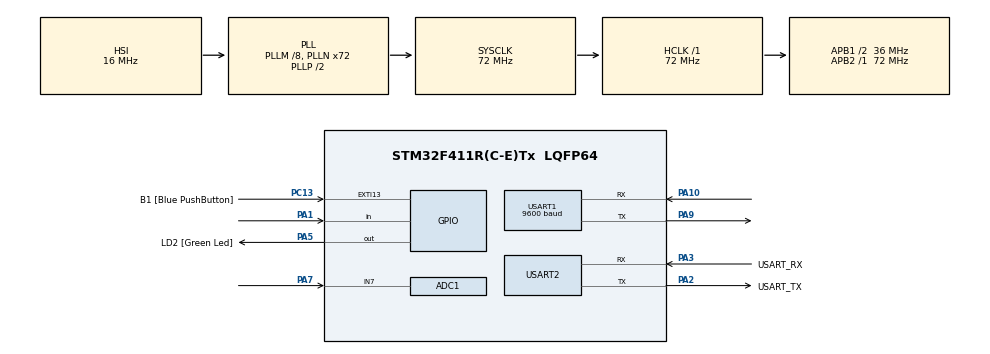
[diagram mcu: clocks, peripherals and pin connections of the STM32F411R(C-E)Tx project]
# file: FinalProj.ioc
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ADC1.Channel-0\#ChannelRegularConversion=ADC_CHANNEL_7
ADC1.NbrOfConversionFlag=1
ADC1.Rank-0\#ChannelRegularConversion=1
ADC1.SamplingTime-0\#ChannelRegularConversion=ADC_SAMPLETIME_3CYCLES
ADC1.master=1
Mcu.Family=STM32F4
Mcu.Name=STM32F411R(C-E)Tx
Mcu.Package=LQFP64
NVIC.PriorityGroup=NVIC_PRIORITYGROUP_0
NVIC.USART1_IRQn=true\:0\:0\:false\:false\:true\:true\:true\:true
PA1.Signal=GPIO_Input
PA10.Mode=Asynchronous
PA10.Signal=USART1_RX
PA13.GPIO_Label=TMS
PA13.Signal=SYS_JTMS-SWDIO
PA14.GPIO_Label=TCK
PA14.Signal=SYS_JTCK-SWCLK
PA2.GPIO_Label=USART_TX
PA2.Mode=Asynchronous
PA2.Signal=USART2_TX
PA3.GPIO_Label=USART_RX
PA3.Mode=Asynchronous
PA3.Signal=USART2_RX
PA5.GPIO_Label=LD2 [Green Led]
PA5.Signal=GPIO_Output
PA7.Signal=ADCx_IN7
PA9.Mode=Asynchronous
PA9.Signal=USART1_TX
PB3.GPIO_Label=SWO
PB3.Signal=SYS_JTDO-SWO
PC13-ANTI_TAMP.GPIO_Label=B1 [Blue PushButton]
PC13-ANTI_TAMP.GPIO_ModeDefaultEXTI=GPIO_MODE_IT_FALLING
PC13-ANTI_TAMP.Signal=GPXTI13
PC14-OSC32_IN.Signal=RCC_OSC32_IN
PC15-OSC32_OUT.Signal=RCC_OSC32_OUT
PH0\ -\ OSC_IN.Signal=RCC_OSC_IN
PH1\ -\ OSC_OUT.Signal=RCC_OSC_OUT
ProjectManager.HeapSize=0x200
ProjectManager.StackSize=0x400
ProjectManager.TargetToolchain=STM32CubeIDE
RCC.48MHZClocksFreq_Value=36000000
RCC.AHBFreq_Value=72000000
RCC.APB1CLKDivider=RCC_HCLK_DIV2
RCC.APB1Freq_Value=36000000
RCC.APB1TimFreq_Value=72000000
RCC.APB2Freq_Value=72000000
RCC.APB2TimFreq_Value=72000000
RCC.CortexFreq_Value=72000000
RCC.FLatency-AdvancedSettings=FLASH_LATENCY_2
RCC.HCLKFreq_Value=72000000
RCC.HSE_VALUE=8000000
RCC.HSI_VALUE=16000000
RCC.LSE_VALUE=32768
RCC.PLLM=8
RCC.PLLN=72
RCC.SYSCLKFreq_VALUE=72000000
RCC.SYSCLKSource=RCC_SYSCLKSOURCE_PLLCLK
RCC.VCOOutputFreq_Value=144000000
SH.ADCx_IN7.0=ADC1_IN7,IN7
TIM1.Prescaler=72-1
USART1.BaudRate=9600
USART1.VirtualMode=VM_ASYNC
USART2.VirtualMode=VM_ASYNC
VP_TIM1_VS_ClockSourceINT.Mode=Internal
board=NUCLEO-F411RE

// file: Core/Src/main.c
/* USER CODE BEGIN Header */
/**
  ******************************************************************************
  * @file           : main.c
  * @brief          : Main program body
  ******************************************************************************
  * @attention
  *
  * Copyright (c) 2023 STMicroelectronics.
  * All rights reserved.
  *
  * This software is licensed under terms that can be found in the LICENSE file
  * in the root directory of this software component.
  * If no LICENSE file comes with this software, it is provided AS-IS.
  *
  ******************************************************************************
  */
/* USER CODE END Header */
#include "main.h"

ADC_HandleTypeDef hadc1;

TIM_HandleTypeDef htim1;

UART_HandleTypeDef huart1;
UART_HandleTypeDef huart2;

void SystemClock_Config(void);
static void MX_GPIO_Init(void);
static void MX_TIM1_Init(void);
static void MX_USART2_UART_Init(void);
static void MX_ADC1_Init(void);
static void MX_USART1_UART_Init(void);

/* USER CODE BEGIN 0 */
int t,m;
uint8_t text;
void HAL_UART_RxCpltCallback(UART_HandleTypeDef *huart) {
    if (huart->Instance == USART1) {
//    	HAL_UART_Transmit(&huart2, "start\n\r", sizeof("start\n\r"), 1000);
          HAL_UART_Transmit(&huart1, &t, sizeof(t), 1000);
          HAL_UART_Transmit(&huart1, &m, sizeof(m), 1000);
          HAL_UART_Receive_IT(&huart1, &text, 1);
    }
}

//uint8_t c;
//char text[32];
//int index = 0;
//void HAL_UART_RxCpltCallback(UART_HandleTypeDef *huart) {
//	if (huart -> Instance == USART6) {
//		if (c != 13) {
//			HAL_UART_Transmit(&huart2, &c, 1, 100);
//			text[index++] = c;
//		} else {
//			HAL_UART_Transmit(&huart2, "\r\n", 2, 100);
//			for (int i = 0; i < index; i++) {
//				HAL_UART_Transmit(&huart2, &text[index-1-i], 1, 100);
//			}
//			HAL_UART_Transmit(&huart2, "\r\n", 2, 100);
//			memset(text,0,32);
//			index = 0;
//		}
//	}
//	HAL_UART_Receive_IT(&huart2, &c, 1);
//}

#define DS18B20_PORT GPIOA
#define DS18B20_PIN GPIO_PIN_1

void delay (uint16_t us)
{
	__HAL_TIM_SET_COUNTER(&htim1,0);  // set the counter value a 0
	while (__HAL_TIM_GET_COUNTER(&htim1) < us);  // wait for the counter to reach the us input in the parameter
}

GPIO_InitTypeDef GPIO_InitStruct;

void gpio_set_input (void)
{
  GPIO_InitStruct.Pin = GPIO_PIN_1;
  GPIO_InitStruct.Mode = GPIO_MODE_INPUT;
  GPIO_InitStruct.Pull = GPIO_PULLUP;
  HAL_GPIO_Init(GPIOA, &GPIO_InitStruct);
}

void gpio_set_output (void)
{
  GPIO_InitStruct.Pin = GPIO_PIN_1;
  GPIO_InitStruct.Mode = GPIO_MODE_OUTPUT_PP;
  GPIO_InitStruct.Pull = GPIO_NOPULL;
  GPIO_InitStruct.Speed = GPIO_SPEED_FREQ_LOW;
  HAL_GPIO_Init(GPIOA, &GPIO_InitStruct);
}

uint8_t check =2, temp_l, temp_h;
uint16_t temp;
float temperature;

uint8_t ds18b20_init (void)
{
	gpio_set_output ();   // set the pin as output
	HAL_GPIO_WritePin (GPIOA, GPIO_PIN_1, 0);  // pull the pin low
	delay (480);   // delay according to datasheet

	gpio_set_input ();    // set the pin as input
	delay (80);    // delay according to datasheet

	if (!(HAL_GPIO_ReadPin (GPIOA, GPIO_PIN_1)))    // if the pin is low i.e the presence pulse is there
	{
		delay (400);  // wait for 400 us
		return 0;
	}

	else
	{
		delay (400);
		return 1;
	}
}

void write (uint8_t data)
{
	gpio_set_output ();   // set as output

	for (int i=0; i<8; i++)
	{

		if ((data & (1<<i))!=0)  // if the bit is high
		{
			// write 1

			gpio_set_output ();  // set as output
			HAL_GPIO_WritePin (GPIOA, GPIO_PIN_1, 0);  // pull the pin LOW
			delay (1);  // wait for  us

			gpio_set_input ();  // set as input
			delay (60);  // wait for 60 us
		}

		else  // if the bit is low
		{
			// write 0

			gpio_set_output ();
			HAL_GPIO_WritePin (GPIOA, GPIO_PIN_1, 0);  // pull the pin LOW
			delay (60);  // wait for 60 us

			gpio_set_input ();
		}
	}
}

uint8_t read (void)
{
	uint8_t value=0;
	gpio_set_input ();

	for (int i=0;i<8;i++)
	{
		gpio_set_output ();   // set as output

		HAL_GPIO_WritePin (GPIOA, GPIO_PIN_1, 0);  // pull the data pin LOW
		delay (2);  // wait for 2 us

		gpio_set_input ();  // set as input
		if (HAL_GPIO_ReadPin (GPIOA, GPIO_PIN_1))  // if the pin is HIGH
		{
			value |= 1<<i;  // read = 1
		}
		delay (60);  // wait for 60 us
	}
	return value;
}

/* USER CODE END 0 */

int main(void)
{

  /* MCU Configuration--------------------------------------------------------*/

  /* Reset of all peripherals, Initializes the Flash interface and the Systick. */
  HAL_Init();

  /* Configure the system clock */
  SystemClock_Config();

  /* Initialize all configured peripherals */
  MX_GPIO_Init();
  MX_TIM1_Init();
  MX_USART2_UART_Init();
  MX_ADC1_Init();
  MX_USART1_UART_Init();
  /* USER CODE BEGIN 2 */

  HAL_TIM_Base_Start(&htim1);
  UART_Start_Receive_IT(&huart1, &text, 1);
  /* USER CODE END 2 */

  /* Infinite loop */
  while (1)
  {

    /* USER CODE BEGIN 3 */
	  HAL_ADC_Start(&hadc1);
	  HAL_ADC_PollForConversion(&hadc1, 1);

	  check = ds18b20_init ();
	  write (0xCC);  // skip ROM
	  write (0x44);  // convert t

	  HAL_Delay (200);

	  ds18b20_init ();
	  write (0xCC);  // skip ROM
	  write (0xBE);  // Read Scratchpad

	  temp_l = read();
	  temp_h = read();
	  temp = (temp_h<<8)|temp_l;
	  temperature = (float)temp/16;

	  uint16_t TDS = 0;
	  TDS = HAL_ADC_GetValue(&hadc1);

	  char text[10];
	  sprintf(text, "[%d,%d]\r\n", (int) temperature, (int)TDS);
	  t = (int) temperature;
	  if (TDS > 255) {
		  m = 255;
	  } else {
		  m = (uint16_t) TDS;
	  }
	  HAL_UART_Transmit(&huart2, &text, sizeof(text), 1000);
  }
  /* USER CODE END 3 */
}

void SystemClock_Config(void)
{
  RCC_OscInitTypeDef RCC_OscInitStruct = {0};
  RCC_ClkInitTypeDef RCC_ClkInitStruct = {0};

  /** Configure the main internal regulator output voltage
  */
  __HAL_RCC_PWR_CLK_ENABLE();
  __HAL_PWR_VOLTAGESCALING_CONFIG(PWR_REGULATOR_VOLTAGE_SCALE1);

  /** Initializes the RCC Oscillators according to the specified parameters
  * in the RCC_OscInitTypeDef structure.
  */
  RCC_OscInitStruct.OscillatorType = RCC_OSCILLATORTYPE_HSI;
  RCC_OscInitStruct.HSIState = RCC_HSI_ON;
  RCC_OscInitStruct.HSICalibrationValue = RCC_HSICALIBRATION_DEFAULT;
  RCC_OscInitStruct.PLL.PLLState = RCC_PLL_ON;
  RCC_OscInitStruct.PLL.PLLSource = RCC_PLLSOURCE_HSI;
  RCC_OscInitStruct.PLL.PLLM = 8;
  RCC_OscInitStruct.PLL.PLLN = 72;
  RCC_OscInitStruct.PLL.PLLP = RCC_PLLP_DIV2;
  RCC_OscInitStruct.PLL.PLLQ = 4;
  if (HAL_RCC_OscConfig(&RCC_OscInitStruct) != HAL_OK)
  {
    Error_Handler();
  }

  /** Initializes the CPU, AHB and APB buses clocks
  */
  RCC_ClkInitStruct.ClockType = RCC_CLOCKTYPE_HCLK|RCC_CLOCKTYPE_SYSCLK
                              |RCC_CLOCKTYPE_PCLK1|RCC_CLOCKTYPE_PCLK2;
  RCC_ClkInitStruct.SYSCLKSource = RCC_SYSCLKSOURCE_PLLCLK;
  RCC_ClkInitStruct.AHBCLKDivider = RCC_SYSCLK_DIV1;
  RCC_ClkInitStruct.APB1CLKDivider = RCC_HCLK_DIV2;
  RCC_ClkInitStruct.APB2CLKDivider = RCC_HCLK_DIV1;

  if (HAL_RCC_ClockConfig(&RCC_ClkInitStruct, FLASH_LATENCY_2) != HAL_OK)
  {
    Error_Handler();
  }
}

static void MX_ADC1_Init(void)
{

  ADC_ChannelConfTypeDef sConfig = {0};

  /** Configure the global features of the ADC (Clock, Resolution, Data Alignment and number of conversion)
  */
  hadc1.Instance = ADC1;
  hadc1.Init.ClockPrescaler = ADC_CLOCK_SYNC_PCLK_DIV2;
  hadc1.Init.Resolution = ADC_RESOLUTION_12B;
  hadc1.Init.ScanConvMode = DISABLE;
  hadc1.Init.ContinuousConvMode = DISABLE;
  hadc1.Init.DiscontinuousConvMode = DISABLE;
  hadc1.Init.ExternalTrigConvEdge = ADC_EXTERNALTRIGCONVEDGE_NONE;
  hadc1.Init.ExternalTrigConv = ADC_SOFTWARE_START;
  hadc1.Init.DataAlign = ADC_DATAALIGN_RIGHT;
  hadc1.Init.NbrOfConversion = 1;
  hadc1.Init.DMAContinuousRequests = DISABLE;
  hadc1.Init.EOCSelection = ADC_EOC_SINGLE_CONV;
  if (HAL_ADC_Init(&hadc1) != HAL_OK)
  {
    Error_Handler();
  }

  /** Configure for the selected ADC regular channel its corresponding rank in the sequencer and its sample time.
  */
  sConfig.Channel = ADC_CHANNEL_7;
  sConfig.Rank = 1;
  sConfig.SamplingTime = ADC_SAMPLETIME_3CYCLES;
  if (HAL_ADC_ConfigChannel(&hadc1, &sConfig) != HAL_OK)
  {
    Error_Handler();
  }

}

static void MX_TIM1_Init(void)
{

  TIM_ClockConfigTypeDef sClockSourceConfig = {0};
  TIM_MasterConfigTypeDef sMasterConfig = {0};

  htim1.Instance = TIM1;
  htim1.Init.Prescaler = 72-1;
  htim1.Init.CounterMode = TIM_COUNTERMODE_UP;
  htim1.Init.Period = 65535;
  htim1.Init.ClockDivision = TIM_CLOCKDIVISION_DIV1;
  htim1.Init.RepetitionCounter = 0;
  htim1.Init.AutoReloadPreload = TIM_AUTORELOAD_PRELOAD_DISABLE;
  if (HAL_TIM_Base_Init(&htim1) != HAL_OK)
  {
    Error_Handler();
  }
  sClockSourceConfig.ClockSource = TIM_CLOCKSOURCE_INTERNAL;
  if (HAL_TIM_ConfigClockSource(&htim1, &sClockSourceConfig) != HAL_OK)
  {
    Error_Handler();
  }
  sMasterConfig.MasterOutputTrigger = TIM_TRGO_RESET;
  sMasterConfig.MasterSlaveMode = TIM_MASTERSLAVEMODE_DISABLE;
  if (HAL_TIMEx_MasterConfigSynchronization(&htim1, &sMasterConfig) != HAL_OK)
  {
    Error_Handler();
  }

}

static void MX_USART1_UART_Init(void)
{

  huart1.Instance = USART1;
  huart1.Init.BaudRate = 9600;
  huart1.Init.WordLength = UART_WORDLENGTH_8B;
  huart1.Init.StopBits = UART_STOPBITS_1;
  huart1.Init.Parity = UART_PARITY_NONE;
  huart1.Init.Mode = UART_MODE_TX_RX;
  huart1.Init.HwFlowCtl = UART_HWCONTROL_NONE;
  huart1.Init.OverSampling = UART_OVERSAMPLING_16;
  if (HAL_UART_Init(&huart1) != HAL_OK)
  {
    Error_Handler();
  }

}

static void MX_USART2_UART_Init(void)
{

  huart2.Instance = USART2;
  huart2.Init.BaudRate = 115200;
  huart2.Init.WordLength = UART_WORDLENGTH_8B;
  huart2.Init.StopBits = UART_STOPBITS_1;
  huart2.Init.Parity = UART_PARITY_NONE;
  huart2.Init.Mode = UART_MODE_TX_RX;
  huart2.Init.HwFlowCtl = UART_HWCONTROL_NONE;
  huart2.Init.OverSampling = UART_OVERSAMPLING_16;
  if (HAL_UART_Init(&huart2) != HAL_OK)
  {
    Error_Handler();
  }

}

static void MX_GPIO_Init(void)
{
  GPIO_InitTypeDef GPIO_InitStruct = {0};

  /* GPIO Ports Clock Enable */
  __HAL_RCC_GPIOC_CLK_ENABLE();
  __HAL_RCC_GPIOH_CLK_ENABLE();
  __HAL_RCC_GPIOA_CLK_ENABLE();
  __HAL_RCC_GPIOB_CLK_ENABLE();

  /*Configure GPIO pin Output Level */
  HAL_GPIO_WritePin(LD2_GPIO_Port, LD2_Pin, GPIO_PIN_RESET);

  /*Configure GPIO pin : B1_Pin */
  GPIO_InitStruct.Pin = B1_Pin;
  GPIO_InitStruct.Mode = GPIO_MODE_IT_FALLING;
  GPIO_InitStruct.Pull = GPIO_NOPULL;
  HAL_GPIO_Init(B1_GPIO_Port, &GPIO_InitStruct);

  /*Configure GPIO pin : PA1 */
  GPIO_InitStruct.Pin = GPIO_PIN_1;
  GPIO_InitStruct.Mode = GPIO_MODE_INPUT;
  GPIO_InitStruct.Pull = GPIO_NOPULL;
  HAL_GPIO_Init(GPIOA, &GPIO_InitStruct);

  /*Configure GPIO pin : LD2_Pin */
  GPIO_InitStruct.Pin = LD2_Pin;
  GPIO_InitStruct.Mode = GPIO_MODE_OUTPUT_PP;
  GPIO_InitStruct.Pull = GPIO_NOPULL;
  GPIO_InitStruct.Speed = GPIO_SPEED_FREQ_LOW;
  HAL_GPIO_Init(LD2_GPIO_Port, &GPIO_InitStruct);

}

void Error_Handler(void)
{
  __disable_irq();
  while (1)
  {
  }
}
